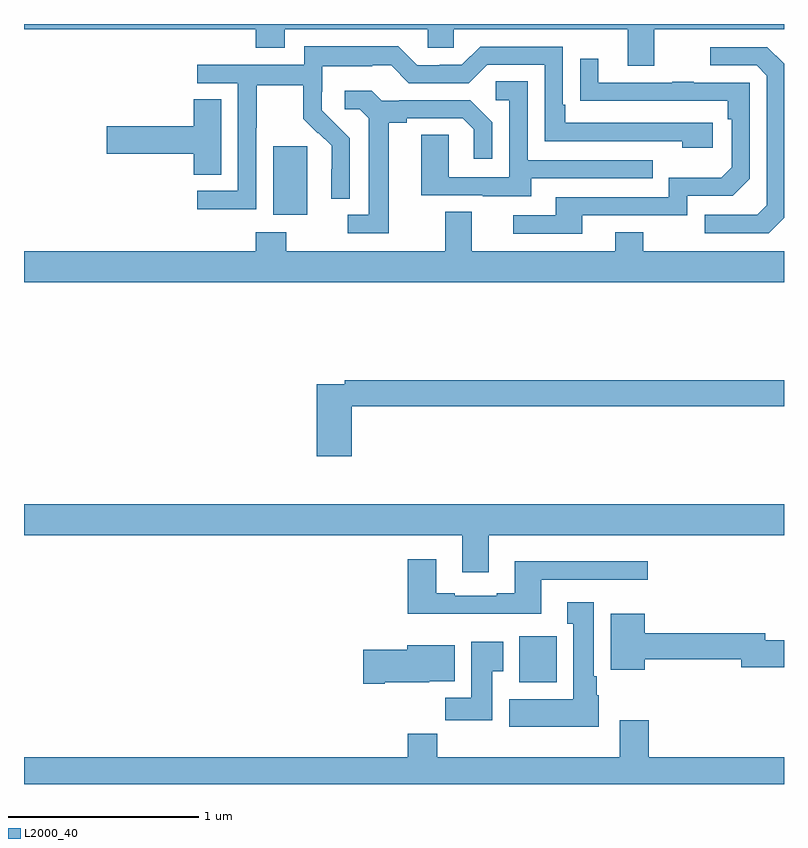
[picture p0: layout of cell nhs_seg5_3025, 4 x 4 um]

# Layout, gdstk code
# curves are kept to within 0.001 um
import gdstk
lib = gdstk.Library(unit=1e-6, precision=1e-09)
def R(c, l, rs):  # rectangles x0, y0, x1, y1
    for r in rs: c.add(gdstk.rectangle(r[:2], r[2:], *l))
def P(c, l, *ps):  # polygons
    for p in ps: c.add(gdstk.Polygon(p, *l))
L2000_40 = (2000, 40)

nhs_seg5_3025 = lib.new_cell('nhs_seg5_3025')
R(nhs_seg5_3025, L2000_40, [(289.607,841.334,289.804,841.576), (288.311,843.794,288.49,844.155)])
P(nhs_seg5_3025, L2000_40, [(290.317,844.772),(291,844.772),(291,844.799),(287,844.799),(287,844.772),(288.221,844.772),(288.221,844.673),(288.373,844.673),(288.373,844.772),(289.125,844.772),(289.125,844.674),(289.263,844.674),(289.263,844.772),(290.177,844.772),(290.177,844.578),(290.317,844.578)],
  [(288.222,844.252),(288.225,844.252),(288.225,844.476),(288.469,844.476),(288.469,844.301),(288.546,844.224),(288.549,844.227),(288.62,844.157),(288.62,844.034),(288.618,844.034),(288.618,843.88),(288.714,843.88),(288.714,844.198),(288.568,844.346),(288.568,844.443),(288.57,844.443),(288.57,844.577),(288.833,844.577),(288.833,844.581),(288.933,844.581),(289.026,844.488),(289.341,844.488),(289.437,844.584),(289.74,844.584),(289.74,844.182),(290.465,844.182),(290.465,844.148),(290.626,844.148),(290.626,844.278),(289.849,844.278),(289.849,844.375),(289.836,844.375),(289.836,844.68),(289.401,844.68),(289.305,844.584),(289.187,844.584),(289.187,844.581),(289.071,844.581),(288.971,844.681),(288.474,844.681),(288.474,844.584),(287.913,844.584),(287.913,844.488),(288.126,844.488),(288.126,843.921),(287.913,843.921),(287.913,843.823),(288.222,843.823)],
  [(291,843.78),(291,844.59),(290.913,844.677),(290.613,844.677),(290.613,844.581),(290.856,844.581),(290.91,844.527),(290.91,843.846),(290.859,843.795),(290.583,843.795),(290.583,843.699),(290.919,843.699)],
  [(289.939,843.792),(290.49,843.792),(290.49,843.894),(290.73,843.894),(290.82,843.984),(290.82,844.491),(290.525,844.491),(290.525,844.496),(290.413,844.496),(290.413,844.491),(290.023,844.491),(290.023,844.615),(289.927,844.615),(289.927,844.396),(290.704,844.395),(290.704,844.298),(290.724,844.298),(290.724,844.044),(290.671,843.991),(290.394,843.991),(290.394,843.888),(289.799,843.888),(289.799,843.792),(289.575,843.792),(289.575,843.696),(289.939,843.696)],
  [(289.669,843.987),(290.309,843.987),(290.309,844.083),(289.65,844.083),(289.65,844.499),(289.482,844.499),(289.482,844.398),(289.554,844.398),(289.554,843.993),(289.236,843.993),(289.236,844.217),(289.091,844.217),(289.091,843.897),(289.415,843.897),(289.415,843.893),(289.669,843.893)],
  [(288.919,844.28),(289.015,844.28),(289.015,844.302),(289.31,844.302),(289.367,844.245),(289.367,844.089),(289.464,844.089),(289.464,844.282),(289.348,844.398),(288.976,844.398),(288.976,844.395),(288.882,844.395),(288.83,844.447),(288.687,844.447),(288.687,844.35),(288.768,844.35),(288.815,844.303),(288.815,843.795),(288.705,843.795),(288.705,843.699),(288.919,843.699)],
  [(288.037,844.403),(287.894,844.403),(287.894,844.262),(287.436,844.262),(287.436,844.115),(287.894,844.115),(287.894,844.006),(288.037,844.006)],
  [(288.221,843.703),(288.221,843.604),(287,843.604),(287,843.44),(291,843.44),(291,843.604),(290.259,843.604),(290.259,843.703),(290.111,843.703),(290.111,843.604),(289.357,843.604),(289.357,843.812),(289.217,843.812),(289.217,843.604),(288.381,843.604),(288.381,843.703)],
  [(288.725,842.788),(291,842.788),(291,842.924),(288.688,842.924),(288.688,842.904),(288.542,842.904),(288.542,842.523),(288.725,842.523)],
  [(289.447,842.108),(291,842.108),(291,842.272),(287,842.272),(287,842.108),(289.307,842.108),(289.307,841.914),(289.447,841.914)],
  [(289.723,841.875),(290.284,841.875),(290.284,841.972),(289.583,841.972),(289.583,841.804),(289.487,841.804),(289.487,841.791),(289.267,841.791),(289.267,841.804),(289.171,841.804),(289.171,841.981),(289.019,841.981),(289.019,841.694),(289.723,841.694)],
  [(290.026,841.266),(290.014,841.266),(290.014,841.366),(289.999,841.366),(289.999,841.756),(289.859,841.756),(289.859,841.643),(289.892,841.643),(289.892,841.246),(289.553,841.246),(289.553,841.1),(290.026,841.1)],
  [(290.266,841.456),(290.774,841.456),(290.774,841.414),(291,841.414),(291,841.556),(290.902,841.556),(290.902,841.592),(290.266,841.592),(290.266,841.696),(290.087,841.696),(290.087,841.4),(290.266,841.4)],
  [(289.465,841.393),(289.522,841.393),(289.522,841.549),(289.355,841.549),(289.355,841.252),(289.216,841.252),(289.216,841.134),(289.465,841.134)],
  [(288.898,841.334),(289.134,841.334),(289.134,841.34),(289.267,841.34),(289.267,841.528),(289.016,841.528),(289.016,841.505),(288.786,841.505),(288.786,841.327),(288.898,841.327)],
  [(291,840.94),(290.288,840.94),(290.288,841.135),(290.135,841.135),(290.135,840.94),(289.175,840.94),(289.175,841.064),(289.019,841.064),(289.019,840.94),(287,840.94),(287,840.799),(291,840.799)])

lib.write_gds('nhs_seg5_3025.gds')
